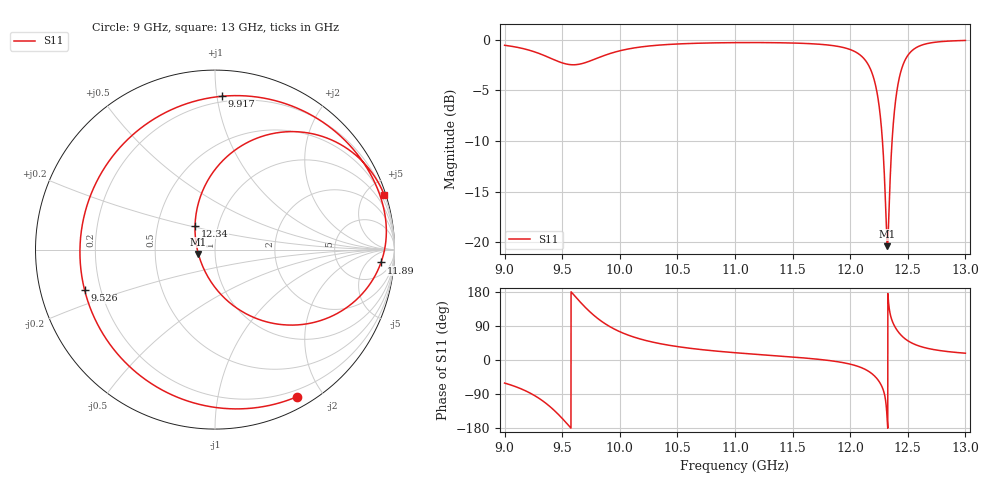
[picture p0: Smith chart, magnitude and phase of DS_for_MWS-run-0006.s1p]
! TOUCHSTONE file generated by CST DESIGN STUDIO
! Date and time: Tue Feb  4 17:49:38 2025
! Project name: C:\Work\MatlabApps\UnitCellOptimizationMatlab\CST\unitcell.cst
! Tree item: Tasks\Sweep1\SPara1\S-Parameters
! Header version: 2024
! Port assignment regex: !\s*Touchstone port\s*([0-9]+)\s*=\s*(CST MWS port|CST DES external port|CST DES block port)\s*(.+)\s* \(\"(.*)\"\)(\s*mode\s*([0-9]+))?.*
! Touchstone port assignment:
! Touchstone port 1 = CST DES external port 1 ("")
# GHz S MA R 50
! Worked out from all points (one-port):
!   4001 points, 9 GHz to 13 GHz, reference 50 ohm
!   lowest |S11| = -20.4 dB at 12.32 GHz (marker M1), VSWR 1.21, Z = 41.5 - j2.05 ohm
!   |S11| at or under -10 dB: 12.28 GHz to 12.36 GHz (83.47 MHz wide, 0.677 % of centre)
!   S11 on the Smith chart (normalised r, x): 9 GHz: 0.12, -1.70; 9.526 GHz: 0.14, -0.15; 9.917 GHz: 0.16, +1.03; 11.89 GHz: 13, -13; 12.34 GHz: 0.77, +0.21; 13 GHz: 0.18, +6.34
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9  0.9383 -60.8
9.147  0.9075 -76.6
9.297  0.856 -100.8
9.4  0.8097 -124.6
9.5  0.7683 -154.1
9.526  0.7608 -162.7
9.623  0.7532 164.1
9.733  0.7819 129.3
9.819  0.8169 107.1
9.917  0.8551 87.5
10  0.8815 74.7
10.217  0.9259 52.1
10.5  0.9525 35.4
11  0.9673 19.2
11.5  0.9629 7.8
11.889  0.9277 -4.4
12  0.894 -10.9
12.13  0.7933 -24.7
12.222  0.5891 -45.5
12.269  0.3791 -66.1
12.323  0.09569 -165.2
12.342  0.1739 129.8
12.368  0.3458 100.6
12.399  0.527 82.2
12.443  0.7069 65.1
12.5  0.8362 50.8
12.67  0.9573 30.9
13  0.9913 17.9
